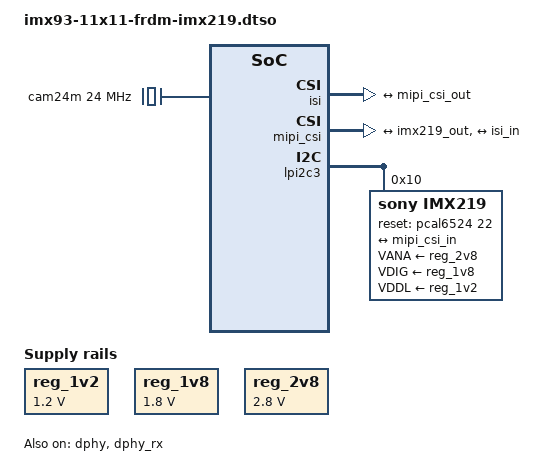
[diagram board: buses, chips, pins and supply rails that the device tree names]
// SPDX-License-Identifier: (GPL-2.0+ OR MIT)
/*
 * Copyright 2025 Jason Yang <jason98166@gmail.com>
 */

#include <dt-bindings/gpio/gpio.h>

/dts-v1/;
/plugin/;

&{/} {
	cam24m: cam24m {
		compatible = "fixed-clock";
		#clock-cells = <0>;
		clock-frequency = <24000000>;
		clock-output-names = "cam24m";
	};

	reg_1v2: regulator-1v2 {
		compatible = "regulator-fixed";
		regulator-name = "1V2";
		regulator-min-microvolt = <1200000>;
		regulator-max-microvolt = <1200000>;
		regulator-always-on;
	};

	reg_1v8: regulator-1v8 {
		compatible = "regulator-fixed";
		regulator-name = "1V8";
		regulator-min-microvolt = <1800000>;
		regulator-max-microvolt = <1800000>;
		regulator-always-on;
	};

	reg_2v8: regulator-2v8 {
		compatible = "regulator-fixed";
		regulator-name = "2V8";
		regulator-min-microvolt = <2800000>;
		regulator-max-microvolt = <2800000>;
		regulator-always-on;
	};
};

&dphy {
	status = "okay";
};

&dphy_rx {
	status = "okay";
};

&isi {
	status = "okay";

	port {
		isi_in: endpoint {
		remote-endpoint = <&mipi_csi_out>;
		};
	};
};

&mipi_csi {
	snps,enable-embedded-data;
	dwc_color_16bit_enable;
	status = "okay";

	ports {
		#address-cells = <1>;
		#size-cells = <0>;

		port@0 {
			reg = <0>;

			mipi_csi_in: endpoint {
				remote-endpoint = <&imx219_out>;
				data-lanes = <1 2>;
				clock-lanes = <0>;
			};
		};

		port@1 {
			reg = <1>;

			mipi_csi_out: endpoint {
				remote-endpoint = <&isi_in>;
			};
		};
	};
};

&lpi2c3 {
	#address-cells = <1>;
	#size-cells = <0>;

	imx219: sensor@10 {
		compatible = "sony,imx219";
		reg = <0x10>;
		reset-gpios = <&pcal6524 22 GPIO_ACTIVE_HIGH>;
		clocks = <&cam24m>;
		VANA-supply = <&reg_2v8>;
		VDIG-supply = <&reg_1v8>;
		VDDL-supply = <&reg_1v2>;

		port {
			imx219_out: endpoint {
				remote-endpoint = <&mipi_csi_in>;
				data-lanes = <1 2>;
				clock-noncontinuous;
				link-frequencies = /bits/ 64 <456000000>;
			};
		};
	};
};
